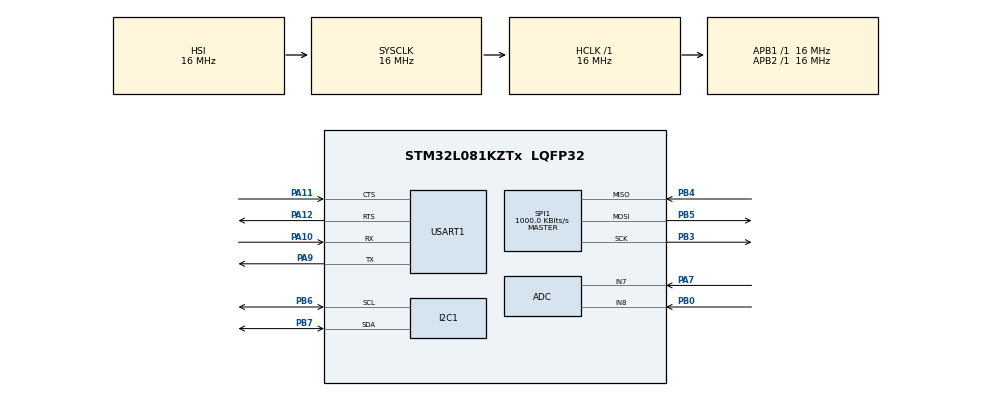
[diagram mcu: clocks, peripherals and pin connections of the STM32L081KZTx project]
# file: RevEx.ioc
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ADC.ClockPrescaler=ADC_CLOCK_ASYNC_DIV1
ADC.SamplingTime=ADC_SAMPLETIME_3CYCLES_5
Dma.ADC.1.Direction=DMA_PERIPH_TO_MEMORY
Dma.ADC.1.Instance=DMA1_Channel1
Dma.ADC.1.MemDataAlignment=DMA_MDATAALIGN_WORD
Dma.ADC.1.MemInc=DMA_MINC_ENABLE
Dma.ADC.1.Mode=DMA_CIRCULAR
Dma.ADC.1.PeriphDataAlignment=DMA_PDATAALIGN_WORD
Dma.ADC.1.PeriphInc=DMA_PINC_DISABLE
Dma.ADC.1.Priority=DMA_PRIORITY_LOW
Dma.Request0=USART1_RX
Dma.Request1=ADC
Dma.USART1_RX.0.Direction=DMA_PERIPH_TO_MEMORY
Dma.USART1_RX.0.Instance=DMA1_Channel3
Dma.USART1_RX.0.MemDataAlignment=DMA_MDATAALIGN_BYTE
Dma.USART1_RX.0.MemInc=DMA_MINC_ENABLE
Dma.USART1_RX.0.Mode=DMA_NORMAL
Dma.USART1_RX.0.PeriphDataAlignment=DMA_PDATAALIGN_BYTE
Dma.USART1_RX.0.PeriphInc=DMA_PINC_DISABLE
Dma.USART1_RX.0.Priority=DMA_PRIORITY_LOW
I2C1.Timing=0x00303D5B
Mcu.Family=STM32L0
Mcu.Name=STM32L081KZTx
Mcu.Package=LQFP32
NVIC.DMA1_Channel1_IRQn=true\:0\:0\:false\:false\:true\:false\:true
NVIC.DMA1_Channel2_3_IRQn=true\:0\:0\:false\:false\:true\:false\:true
NVIC.TIM6_IRQn=true\:0\:0\:false\:false\:true\:true\:true
NVIC.TIM7_IRQn=true\:0\:0\:false\:false\:true\:true\:true
NVIC.USART1_IRQn=true\:0\:0\:false\:false\:true\:true\:true
PA0.Mode=SYS_WakeUp0
PA0.Signal=SYS_WKUP1
PA10.Mode=Asynchronous
PA10.Signal=USART1_RX
PA11.Mode=CTS_RTS
PA11.Signal=USART1_CTS
PA12.Mode=CTS_RTS
PA12.Signal=USART1_RTS
PA13.Mode=Serial_Wire
PA13.Signal=SYS_SWDIO
PA14.Mode=Serial_Wire
PA14.Signal=SYS_SWCLK
PA7.Mode=IN7
PA7.Signal=ADC_IN7
PA9.Mode=Asynchronous
PA9.Signal=USART1_TX
PB0.Mode=IN8
PB0.Signal=ADC_IN8
PB3.Mode=Full_Duplex_Master
PB3.Signal=SPI1_SCK
PB4.Mode=Full_Duplex_Master
PB4.Signal=SPI1_MISO
PB5.Mode=Full_Duplex_Master
PB5.Signal=SPI1_MOSI
PB6.Mode=I2C
PB6.Signal=I2C1_SCL
PB7.Mode=I2C
PB7.Signal=I2C1_SDA
ProjectManager.HeapSize=0x200
ProjectManager.StackSize=0x400
ProjectManager.TargetToolchain=STM32CubeIDE
RCC.AHBFreq_Value=16000000
RCC.APB1Freq_Value=16000000
RCC.APB1TimFreq_Value=16000000
RCC.APB2Freq_Value=16000000
RCC.APB2TimFreq_Value=16000000
RCC.HCLKFreq_Value=16000000
RCC.HSI16_VALUE=16000000
RCC.HSI_VALUE=16000000
RCC.LSE_VALUE=32768
RCC.MSI_VALUE=2097000
RCC.SYSCLKFreq_VALUE=16000000
RCC.SYSCLKSource=RCC_SYSCLKSOURCE_HSI
RCC.VCOOutputFreq_Value=48000000
SPI1.BaudRatePrescaler=SPI_BAUDRATEPRESCALER_16
SPI1.CalculateBaudRate=1000.0 KBits/s
SPI1.Direction=SPI_DIRECTION_2LINES
SPI1.Mode=SPI_MODE_MASTER
SPI1.VirtualType=VM_MASTER
TIM6.Period=100
TIM6.Prescaler=15999
TIM6.TIM_MasterOutputTrigger=TIM_TRGO_RESET
TIM7.Period=100
TIM7.Prescaler=15999
USART1.VirtualMode-Asynchronous=VM_ASYNC
VP_TIM6_VS_ClockSourceINT.Mode=Enable_Timer
VP_TIM7_VS_ClockSourceINT.Mode=Enable_Timer
board=custom

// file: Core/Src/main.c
/* USER CODE BEGIN Header */
/**
  ******************************************************************************
  * @file           : main.c
  * @brief          : Main program body
  ******************************************************************************
  * @attention
  *
  * <h2><center>&copy; Copyright (c) 2021 STMicroelectronics.
  * All rights reserved.</center></h2>
  *
  * This software component is licensed by ST under BSD 3-Clause license,
  * the "License"; You may not use this file except in compliance with the
  * License. You may obtain a copy of the License at:
  *                        opensource.org/licenses/BSD-3-Clause
  *
  ******************************************************************************
  */
/* USER CODE END Header */
#include "main.h"
#include "adc.h"
#include "dma.h"
#include "i2c.h"
#include "spi.h"
#include "tim.h"
#include "usart.h"
#include "gpio.h"

/* USER CODE BEGIN Includes */
#include "ble.h"
#include "imu.h"
#include "pwm.h"
#include "icm20948.h"
#include <stdio.h>
/* USER CODE END Includes */

/* USER CODE BEGIN PTD */
uint32_t Period = 0;
uint32_t Duty_cycle = 1000;
uint32_t val = 0;
uint32_t sleep_cnt = 0;
uint16_t old = 0;
int gate = 0;
char d1 [6] = "dip1\r\n";
char d2 [6] = "dip2\r\n";
uint8_t outputData[128];
uint8_t readyToSend = 1;
uint8_t stallSleep  = 0;
/* USER CODE END PTD */

void SystemClock_Config(void);
/* USER CODE BEGIN PFP */
void initialize_gpioa(void)
{
	RCC->IOPRSTR |= RCC_IOPRSTR_GPIOARST;
	RCC->IOPRSTR &= ~RCC_IOPRSTR_GPIOARST;
	RCC->IOPENR |= RCC_IOPENR_GPIOAEN;
}

void initialize_gpiob(void)
{
    RCC->IOPRSTR |= RCC_IOPRSTR_GPIOBRST;
    RCC->IOPRSTR &= ~RCC_IOPRSTR_GPIOBRST;
    RCC->IOPENR |= RCC_IOPENR_GPIOBEN;
}

void setup_gpio(GPIO_TypeDef  *GPIOx, int num, enum mode m, int pupd, int speed)
{
    if(num > 15)
    {
        return;
    }
    //input mode
    if(m == input)
    {
    	GPIOx->MODER &= ~(3<<(2*num));
    	GPIOx->PUPDR &= ~(3<<(2*num));
    	//pull up = 1; pull down = 0
    	if(pupd)
    	{
    		GPIOx->PUPDR |= (1<<(2*num));
    	}
    	else
    	{
    		GPIOx->PUPDR |= (2<<(2*num));
    	}
    	if(speed == 0)
    	{
    		GPIOx->OSPEEDR &= ~(3<<(2*num));
    	}
    	if(speed == 1)
    	{
    		GPIOx->OSPEEDR &= ~(3<<(2*num));
    		GPIOx->OSPEEDR |= (1<<(2*num));
    	}
    	if(speed == 2)
		{
			GPIOx->OSPEEDR &= ~(3<<(2*num));
			GPIOx->OSPEEDR |= (2<<(2*num));
		}
    	else
    	{
    		GPIOx->OSPEEDR |= (3<<(2*num));
    	}
    }
    //output mode
    if(m == output)
    {
    	GPIOx->MODER &= ~(3<<(2*num));
    	GPIOx->MODER |= (1<<(2*num));
    	if(speed == 0)
		{
			GPIOx->OSPEEDR &= ~(3<<(2*num));
		}
		if(speed == 1)
		{
			GPIOx->OSPEEDR &= ~(3<<(2*num));
			GPIOx->OSPEEDR |= (1<<(2*num));
		}
		if(speed == 2)
		{
			GPIOx->OSPEEDR &= ~(3<<(2*num));
			GPIOx->OSPEEDR |= (2<<(2*num));
		}
		else
		{
			GPIOx->OSPEEDR |= (3<<(2*num));
		}
    }
    //alt mode
    if(m == alternate)
    {
    	GPIOx->MODER &= ~(3<<(2*num));
    	GPIOx->MODER |= (2<<(2*num));
    	if(speed == 0)
		{
			GPIOx->OSPEEDR &= ~(3<<(2*num));
		}
		if(speed == 1)
		{
			GPIOx->OSPEEDR &= ~(3<<(2*num));
			GPIOx->OSPEEDR |= (1<<(2*num));
		}
		if(speed == 2)
		{
			GPIOx->OSPEEDR &= ~(3<<(2*num));
			GPIOx->OSPEEDR |= (2<<(2*num));
		}
		else
		{
			GPIOx->OSPEEDR |= (3<<(2*num));
		}
    }
    //analog mode
    if(m == analog)
    {
    	GPIOx->MODER |= (3<<(2*num));
    	if(speed == 0)
		{
			GPIOx->OSPEEDR &= ~(3<<(2*num));
		}
		if(speed == 1)
		{
			GPIOx->OSPEEDR &= ~(3<<(2*num));
			GPIOx->OSPEEDR |= (1<<(2*num));
		}
		if(speed == 2)
		{
			GPIOx->OSPEEDR &= ~(3<<(2*num));
			GPIOx->OSPEEDR |= (2<<(2*num));
		}
		else
		{
			GPIOx->OSPEEDR |= (3<<(2*num));
		}
    }
    else
    {
    	//error state
    }
}

void setup_alt(GPIO_TypeDef  *GPIOx, int num, int mode)
{
	if(num < 8)
	{
		GPIOx->AFR[0] &= ~(0xf<<(4*(num)));
		GPIOx->AFR[0] |= mode << (4*(num));
	}
	else
	{
		GPIOx->AFR[1] &= ~(0xf<<(4*(num-8)));
		GPIOx->AFR[1] |= mode << (4*(num-8));
	}
}

void toggle_on(GPIO_TypeDef  *GPIOx, int num)
{
    GPIOx->ODR |= (1<<num);
}

void toggle_off(GPIO_TypeDef  *GPIOx, int num)
{
    GPIOx->ODR &= ~(1<<num);
}

int get_gpio(GPIO_TypeDef  *GPIOx, int num)
{
    int val = GPIOx->IDR & (1<<num);
    if(val == 0)
    {
        return 0;
    }
    return 1;
}

void setup_tim2()
{
	RCC->APB1RSTR |= RCC_APB1RSTR_TIM2RST;
	RCC->APB1RSTR &= ~RCC_APB1RSTR_TIM2RST;
    RCC->APB1ENR |= RCC_APB1ENR_TIM2EN;
    setup_gpio(GPIOA, 1, alternate, 0, 1);
    setup_alt(GPIOA, 1, 2);
    //TIM2->DIER |= TIM_DIER_UDE | TIM_DIER_CC2DE;
    TIM2->CR1 |= TIM_CR1_ARPE;
    //TIM2->EGR |= TIM_EGR_UG; // TIM_EGR_CC2G;
    TIM2->CCMR1 |= TIM_CCMR1_OC2PE + TIM_CCMR1_OC2M_2 + TIM_CCMR1_OC2M_1;
    TIM2->PSC = 16000;

    set_haptic(0x0);	//init at 0 haptic

    TIM2->CCER |= TIM_CCER_CC2E;
    TIM2->CR1 |= TIM_CR1_CEN;
    TIM2->EGR |= TIM_EGR_UG;
}

void setup_tim6()
{
	RCC->APB1RSTR |= RCC_APB1RSTR_TIM6RST;
	RCC->APB1RSTR &= ~RCC_APB1RSTR_TIM6RST;
	RCC->APB1ENR |= RCC_APB1ENR_TIM6EN;
	TIM6->PSC = 16000;
	TIM6->ARR = 100;
	TIM6->DIER |= TIM_DIER_UIE;
	NVIC_EnableIRQ(TIM6_DAC_IRQn); /* (1) */
	NVIC_SetPriority(TIM6_DAC_IRQn,0);
	TIM6->CR1 |= TIM_CR1_CEN;
	TIM6->EGR |= TIM_EGR_UG;
}

void PWM_config()
{
	RCC->AHBENR |= RCC_AHBENR_DMA1EN; /* (1) */
	DMA1_CSELR->CSELR |= 8 << (4 * (5-1)) | 8 << (4 * (7-1)); /* (2) */
	DMA1_Channel5->CPAR = (uint32_t) (&(TIM2->ARR)); /* (3) */
	DMA1_Channel5->CMAR = (uint32_t)(&Period); /* (4) */
	DMA1_Channel5->CNDTR = 1; /* (5) */
	DMA1_Channel5->CCR |= DMA_CCR_MSIZE_0 | DMA_CCR_PSIZE_0 \
	 | DMA_CCR_TEIE | DMA_CCR_CIRC; /* (6) */
	DMA1_Channel5->CCR |= DMA_CCR_EN; /* (7) */
	/* repeat (3) to (6) for channel 6 */
	DMA1_Channel7->CPAR = (uint32_t) (&(TIM2->CCR2)); /* (2) */
	DMA1_Channel7->CMAR = (uint32_t)(&Duty_cycle); /* (3) */
	DMA1_Channel7->CNDTR = 1; /* (4) */
	DMA1_Channel7->CCR |= DMA_CCR_MSIZE_0 | DMA_CCR_PSIZE_0 \
	 | DMA_CCR_TEIE | DMA_CCR_CIRC; /* (5) */
	DMA1_Channel7->CCR |= DMA_CCR_EN; /* (6) */
	/* Configure NVIC for DMA */
	/* (1) Enable Interrupt on DMA Channels x */
	/* (2) Set priority for DMA Channels x */
	NVIC_EnableIRQ(DMA1_Channel4_5_6_7_IRQn); /* (1) */
	NVIC_SetPriority(DMA1_Channel4_5_6_7_IRQn,3);
}

void ADC_config()
{
	RCC->AHBRSTR |= RCC_AHBRSTR_DMA1RST;
	RCC->APB2RSTR |= RCC_APB2RSTR_ADCRST;
	RCC->AHBRSTR &= ~RCC_AHBRSTR_DMA1RST;
	RCC->APB2RSTR &= ~RCC_APB2RSTR_ADCRST;
	RCC->AHBENR |= RCC_AHBENR_DMA1EN;
	RCC->APB2ENR |= RCC_APB2ENR_ADCEN;
	setup_gpio(GPIOA, 7, analog, 0, 1);
	DMA1_CSELR->CSELR &= (uint32_t)(~DMA_CSELR_C1S);
	DMA1_Channel1->CPAR = (uint32_t) (&(ADC1->DR));
	//DMA1_Channel1->CMAR = (uint32_t) (&AD_RES);
	DMA1_Channel1->CNDTR = 1;
	DMA1_Channel1->CCR |= DMA_CCR_MSIZE_0 | DMA_CCR_PSIZE_0 | DMA_CCR_TEIE | DMA_CCR_TCIE | DMA_CCR_CIRC;
	DMA1_Channel1->CCR |= DMA_CCR_EN;
	NVIC_EnableIRQ(DMA1_Channel1_IRQn);
	NVIC_SetPriority(DMA1_Channel1_IRQn,0);
	if ((ADC1->CR & ADC_CR_ADEN) != 0)
	{
		ADC1->CR |= ADC_CR_ADDIS;
	}
	ADC1->IER = ADC_IER_EOCALIE |ADC_IER_EOCIE | ADC_IER_EOSIE | ADC_IER_OVRIE | ADC_IER_ADRDYIE;
	ADC1->CR |= ADC_CR_ADCAL;
	while ((ADC1->ISR & ADC_ISR_EOCAL) == 0)
	{}
	ADC1->ISR |= ADC_ISR_EOCAL;

	ADC1->CFGR1 |= ADC_CFGR1_DMAEN | ADC_CFGR1_DMACFG;
	ADC1->CHSELR = ADC_CHSELR_CHSEL7;
	ADC1->SMPR |= ADC_SMPR_SMP_0 | ADC_SMPR_SMP_1 | ADC_SMPR_SMP_2;
	ADC1->ISR |= ADC_ISR_ADRDY;
	ADC1->CR |= ADC_CR_ADEN;
	if ((ADC1->CFGR1 & ADC_CFGR1_AUTOFF) == 0)
	{
		 while ((ADC1->ISR & ADC_ISR_ADRDY) == 0)
		 {}
	}
}

uint8_t * get_buff(void)
{
	return outputData;
}

void battery()
{
	BLE_transmit(outputData, 4);
}

void sample()
{
	uint16_t value = sample_adc();
	if(value > old + 6 || value < old - 6)
	{
		old = value;
		sleep_cnt = 0;
	}
	else
	{
		sleep_cnt++;
	}

	if (!readyToSend) { return; }	// Don't send anything yet

	sample_imu_raw(outputData);

	BLE_transmit(outputData, 40);
	/*ADC1->CR |= ADC_CR_ADSTP;
	ADC1->ISR |= 0xf;
	while(ADC1->CR == ADC_CR_ADSTART){}
	ADC1->CR |= ADC_CR_ADSTART;
	print_adc();*/
	//HAL_ADC_Start_IT(&hadc);
	//__asm__("cpsid if");
	//IMU_read_all_raw(&gyro_buffer, &accel_buffer, &mag_buffer);
	//HAL_UART_Transmit(&huart1, (uint8_t*)temp, 7, 100);
	//BLE_transmit(gyro_buffer, accel_buffer, mag_buffer);
	//__asm__("cpsie if");
}

void debug_imu()
{
	char buffer4[100] = {0};
	int l = sprintf(buffer4, "gyro.x gyro.y gyro.z accel.x accel.y accel.z mag.x mag.y mag.z\r\n");
	HAL_UART_Transmit(&huart1, (uint8_t*)buffer4, l, 100);
	while(1)
	{
		IMU_read_all();
	}
}

uint8_t go_goDipSwitch()
{
	setup_gpio(GPIOA, 2, input, 0, 0);
	setup_gpio(GPIOA, 3, input, 0, 0);
	HAL_Delay(50);
	uint8_t dip1 = get_gpio(GPIOA, 2);
	uint8_t dip2 = get_gpio(GPIOA, 3);
	uint8_t ret_val = (dip2 << 1) | dip1;
	return ret_val;
}

void reset_reg()
{
	RCC->AHBRSTR |= RCC_AHBRSTR_DMA1RST;
	RCC->APB2RSTR |= RCC_APB2RSTR_ADCRST;
	RCC->APB1RSTR |= RCC_APB1RSTR_TIM2RST;
	RCC->APB1RSTR |= RCC_APB1RSTR_TIM6RST;
	RCC->IOPRSTR |= RCC_IOPRSTR_GPIOARST;
	RCC->IOPRSTR |= RCC_IOPRSTR_GPIOBRST;
	RCC->IOPRSTR &= ~RCC_IOPRSTR_GPIOBRST;
	RCC->IOPRSTR &= ~RCC_IOPRSTR_GPIOARST;
	setup_gpio(GPIOA, 6, output, 0, 0);
	setup_gpio(GPIOA, 8, output, 0, 0);
	toggle_off(GPIOA, 8);
	toggle_on(GPIOA, 6);
	RCC->APB1RSTR &= ~RCC_APB1RSTR_TIM6RST;
	RCC->APB1RSTR &= ~RCC_APB1RSTR_TIM2RST;
	RCC->AHBRSTR &= ~RCC_AHBRSTR_DMA1RST;
	RCC->APB2RSTR &= ~RCC_APB2RSTR_ADCRST;
	__HAL_PWR_CLEAR_FLAG(PWR_FLAG_WU);
}

void darkness()
{
	IMU_sleep();	// Put IMU to sleep as well
	BLE_lowPower();
	reset_reg();
	HAL_PWR_EnterSTANDBYMode();
}

void my_old_friend()
{
	if(sleep_cnt > 400 && !stallSleep)
	{
		sleep_cnt = 0;
		darkness();
	}
}

void set_sleepcnt()
{
	sleep_cnt++;
}

void reset_sleepcnt()
{
	sleep_cnt = 0;
}

int get_sleepcnt()
{
	return sleep_cnt;
}

void process_ble_data(bleData* data) {
	if (data->buffer[0] == 'W' && data->buffer[1] == 'C') { //Host subscribed
		readyToSend = 1;	// We are ready to start sending data, someone has subscribed
	}
	else if (data->buffer[0] == 'W' && data->buffer[1] == 'V') {	// Haptic Feedback packet
		unsigned int hapticData = 0;
		char hexString[2] = { data->buffer[8], data->buffer[9] };
		sscanf(hexString, "%x", &hapticData);
		set_haptic((uint8_t)hapticData);
	}
	else if (data->buffer[0] == 'A' && data->buffer[1] == 'O') {
		// Aok do nothing
	}
}

/* USER CODE END PFP */

int main(void)
{
  /* USER CODE BEGIN 1 */
	uint8_t dips;
  /* USER CODE END 1 */

  /* MCU Configuration--------------------------------------------------------*/

  /* Reset of all peripherals, Initializes the Flash interface and the Systick. */
  HAL_Init();

  /* Configure the system clock */
  SystemClock_Config();

  /* USER CODE BEGIN SysInit */
  initialize_gpioa();
  initialize_gpiob();
  /* USER CODE END SysInit */

  /* Initialize all configured peripherals */
  MX_GPIO_Init();
  MX_I2C1_Init();
  MX_SPI1_Init();
  MX_USART1_UART_Init();
  MX_DMA_Init();
  MX_TIM6_Init();
  MX_ADC_Init();
  MX_TIM7_Init();
  /* USER CODE BEGIN 2 */
  dips = go_goDipSwitch();
  HAL_PWR_EnableWakeUpPin(PWR_WAKEUP_PIN1);
  setup_gpio(GPIOA, 1, output, 0, 0);
  setup_tim2();
  toggle_off(GPIOA, 1);
  if(dips == 0 || dips == 1 || dips == 2) // NORMAL OPERATION
  {
	  if (dips == 2) { stallSleep = 1; }	// Never go to sleep if mode 2

	  //passes dips to determine if calibration is loaded or created
	  IMU_Init(dips != 1);

	  bleState bt_state = BLE_ERR;

	  while (bt_state == BLE_ERR) {
		  bt_state = BLE_Init_IT();
	  }
  }
  //ADC_config();
  //setup_tim6();
  BLE_adv();	// Now everything is setup, adv
  bleData* bt_data = NULL;

  HAL_TIM_Base_Start_IT(&htim6);
  //HAL_TIM_Base_Start_IT(&htim7);
  /* USER CODE END 2 */

  /* Infinite loop */
  /* USER CODE BEGIN WHILE */
  while (1)
  {
	  IMU_read_all_raw();

	  bt_data = BLE_getData();

	  if (bt_data != NULL) {
		  process_ble_data(bt_data);
	  }

	  my_old_friend();	// Run here so we don't delay in an IRQ
	  asm("NOP");
    /* USER CODE END WHILE */

  }
}

void SystemClock_Config(void)
{
  RCC_OscInitTypeDef RCC_OscInitStruct = {0};
  RCC_ClkInitTypeDef RCC_ClkInitStruct = {0};
  RCC_PeriphCLKInitTypeDef PeriphClkInit = {0};

  /** Configure the main internal regulator output voltage
  */
  __HAL_PWR_VOLTAGESCALING_CONFIG(PWR_REGULATOR_VOLTAGE_SCALE1);
  /** Initializes the RCC Oscillators according to the specified parameters
  * in the RCC_OscInitTypeDef structure.
  */
  RCC_OscInitStruct.OscillatorType = RCC_OSCILLATORTYPE_HSI;
  RCC_OscInitStruct.HSIState = RCC_HSI_ON;
  RCC_OscInitStruct.HSICalibrationValue = RCC_HSICALIBRATION_DEFAULT;
  RCC_OscInitStruct.PLL.PLLState = RCC_PLL_NONE;
  if (HAL_RCC_OscConfig(&RCC_OscInitStruct) != HAL_OK)
  {
    Error_Handler();
  }
  /** Initializes the CPU, AHB and APB buses clocks
  */
  RCC_ClkInitStruct.ClockType = RCC_CLOCKTYPE_HCLK|RCC_CLOCKTYPE_SYSCLK
                              |RCC_CLOCKTYPE_PCLK1|RCC_CLOCKTYPE_PCLK2;
  RCC_ClkInitStruct.SYSCLKSource = RCC_SYSCLKSOURCE_HSI;
  RCC_ClkInitStruct.AHBCLKDivider = RCC_SYSCLK_DIV1;
  RCC_ClkInitStruct.APB1CLKDivider = RCC_HCLK_DIV1;
  RCC_ClkInitStruct.APB2CLKDivider = RCC_HCLK_DIV1;

  if (HAL_RCC_ClockConfig(&RCC_ClkInitStruct, FLASH_LATENCY_0) != HAL_OK)
  {
    Error_Handler();
  }
  PeriphClkInit.PeriphClockSelection = RCC_PERIPHCLK_USART1|RCC_PERIPHCLK_I2C1;
  PeriphClkInit.Usart1ClockSelection = RCC_USART1CLKSOURCE_PCLK2;
  PeriphClkInit.I2c1ClockSelection = RCC_I2C1CLKSOURCE_PCLK1;
  if (HAL_RCCEx_PeriphCLKConfig(&PeriphClkInit) != HAL_OK)
  {
    Error_Handler();
  }
}

void Error_Handler(void)
{
  __disable_irq();
  while (1)
  {
  }
}
